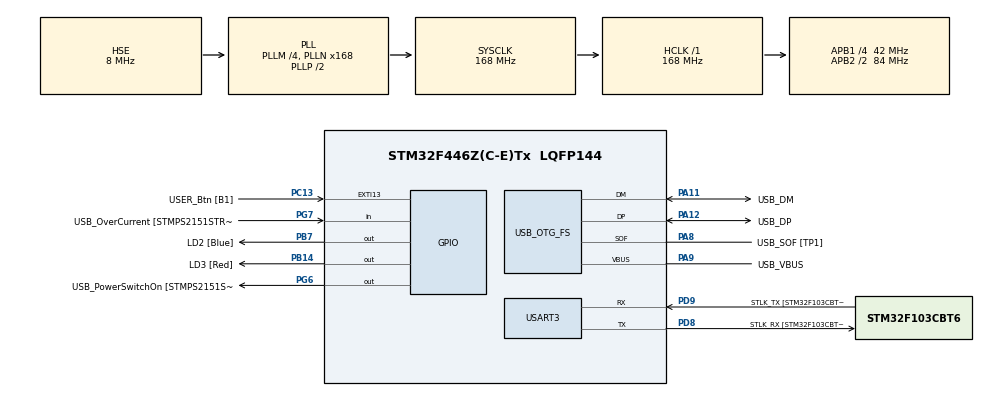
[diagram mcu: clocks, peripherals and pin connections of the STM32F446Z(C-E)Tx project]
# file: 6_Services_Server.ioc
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FREERTOS.Tasks01=defaultTask,0,128,StartDefaultTask,Default,NULL
Mcu.Family=STM32F4
Mcu.Name=STM32F446Z(C-E)Tx
Mcu.Package=LQFP144
NVIC.PriorityGroup=NVIC_PRIORITYGROUP_4
NVIC.TIM1_UP_TIM10_IRQn=true\:0\:0\:false\:false\:true\:false\:false\:true
NVIC.TimeBase=TIM1_UP_TIM10_IRQn
NVIC.TimeBaseIP=TIM1
PA10.GPIO_Label=USB_ID
PA10.Signal=USB_OTG_FS_ID
PA11.GPIO_Label=USB_DM
PA11.Mode=Device_Only
PA11.Signal=USB_OTG_FS_DM
PA12.GPIO_Label=USB_DP
PA12.Mode=Device_Only
PA12.Signal=USB_OTG_FS_DP
PA13.GPIO_Label=TMS
PA13.Mode=Serial_Wire
PA13.Signal=SYS_JTMS-SWDIO
PA14.GPIO_Label=TCK
PA14.Mode=Serial_Wire
PA14.Signal=SYS_JTCK-SWCLK
PA8.GPIO_Label=USB_SOF [TP1]
PA8.Mode=Activate_SOF_FS
PA8.Signal=USB_OTG_FS_SOF
PA9.GPIO_Label=USB_VBUS
PA9.Mode=Activate_VBUS
PA9.Signal=USB_OTG_FS_VBUS
PB14.GPIO_Label=LD3 [Red]
PB14.Signal=GPIO_Output
PB7.GPIO_Label=LD2 [Blue]
PB7.Signal=GPIO_Output
PC13.GPIO_Label=USER_Btn [B1]
PC13.Signal=GPXTI13
PC14-OSC32_IN.Mode=LSE-External-Oscillator
PC14-OSC32_IN.Signal=RCC_OSC32_IN
PC15-OSC32_OUT.Mode=LSE-External-Oscillator
PC15-OSC32_OUT.Signal=RCC_OSC32_OUT
PD8.GPIO_Label=STLK_RX [STM32F103CBT6_PA3]
PD8.Mode=Asynchronous
PD8.Signal=USART3_TX
PD9.GPIO_Label=STLK_TX [STM32F103CBT6_PA2]
PD9.Mode=Asynchronous
PD9.Signal=USART3_RX
PG6.GPIO_Label=USB_PowerSwitchOn [STMPS2151STR_EN]
PG6.Signal=GPIO_Output
PG7.GPIO_Label=USB_OverCurrent [STMPS2151STR_FAULT]
PG7.Signal=GPIO_Input
PH0-OSC_IN.GPIO_Label=MCO [STM32F103CBT6_PA8]
PH0-OSC_IN.Mode=HSE-External-Clock-Source
PH0-OSC_IN.Signal=RCC_OSC_IN
PH1-OSC_OUT.Mode=HSE-External-Clock-Source
PH1-OSC_OUT.Signal=RCC_OSC_OUT
ProjectManager.HeapSize=0x200
ProjectManager.StackSize=0x400
ProjectManager.TargetToolchain=STM32CubeIDE
RCC.48MHZClocksFreq_Value=24000000
RCC.AHBFreq_Value=168000000
RCC.APB1CLKDivider=RCC_HCLK_DIV4
RCC.APB1Freq_Value=42000000
RCC.APB1TimFreq_Value=84000000
RCC.APB2CLKDivider=RCC_HCLK_DIV2
RCC.APB2Freq_Value=84000000
RCC.APB2TimFreq_Value=168000000
RCC.CortexFreq_Value=168000000
RCC.HCLKFreq_Value=168000000
RCC.HSE_VALUE=8000000
RCC.HSI_VALUE=16000000
RCC.PLLM=4
RCC.PLLMUL=RCC_PLL_MUL9
RCC.PLLN=168
RCC.PLLQ=7
RCC.PRESCALERUSB=RCC_USBCLKSOURCE_PLL_DIV1_5
RCC.SYSCLKFreq_VALUE=168000000
RCC.SYSCLKSource=RCC_SYSCLKSOURCE_PLLCLK
RCC.SYSCLKSourceVirtual=RCC_SYSCLKSOURCE_PLLCLK
RCC.USBFreq_Value=48000000
RCC.VCOOutputFreq_Value=336000000
USART3.VirtualMode=VM_ASYNC
USB_OTG_FS.VirtualMode=Device_Only
VP_FREERTOS_VS_CMSIS_V1.Mode=CMSIS_V1
VP_SYS_VS_tim1.Mode=TIM1
board=NUCLEO-F446ZE

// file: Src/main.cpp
/* USER CODE BEGIN Header */
/**
  ******************************************************************************
  * @file           : main.c
  * @brief          : Main program body
  ******************************************************************************
  * @attention
  *
  * <h2><center>&copy; Copyright (c) 2019 STMicroelectronics.
  * All rights reserved.</center></h2>
  *
  * This software component is licensed by ST under BSD 3-Clause license,
  * the "License"; You may not use this file except in compliance with the
  * License. You may obtain a copy of the License at:
  *                        opensource.org/licenses/BSD-3-Clause
  *
  ******************************************************************************
  */
/* USER CODE END Header */

#include "main.h"
#include "cmsis_os.h"

/* USER CODE BEGIN Includes */
#include <uavcan_stm32/uavcan_stm32.hpp>
#include <uavcan/uavcan.hpp>

#include <uavcan/protocol/file/BeginFirmwareUpdate.hpp>

/* USER CODE END Includes */

/* USER CODE BEGIN PD */
#define CAN_THRAD_STACK_SIZE 512

#define DEBUG_BUFFER_SIZE    (256)
#define DEBUG_TIMEOUT        (1000)
/* USER CODE END PD */

UART_HandleTypeDef huart3;

PCD_HandleTypeDef hpcd_USB_OTG_FS;

osThreadId defaultTaskHandle;
/* USER CODE BEGIN PV */
uint32_t defaultTaskBuffer[ CAN_THRAD_STACK_SIZE ];
osStaticThreadDef_t defaultTaskControlBlock;

osSemaphoreId DEBUG_TX_completeID;
osSemaphoreDef(DEBUG_TX_complete);
uint8_t DEBUG_TX_Buffer[DEBUG_BUFFER_SIZE] = {0};  //!< Debug buffer.

/* USER CODE END PV */

void SystemClock_Config(void);
static void MX_GPIO_Init(void);
static void MX_USART3_UART_Init(void);
static void MX_USB_OTG_FS_PCD_Init(void);

/* USER CODE BEGIN PFP */
extern "C" {
	void StartDefaultTask(void const * argument);
}

bool DEBUG_Init(void);
void DEBUG_Printf(const char *fmt, ...);
/* USER CODE END PFP */

/* USER CODE BEGIN 0 */
constexpr unsigned NodePoolSize = 8192;
uavcan_stm32::CanInitHelper<> can;

uavcan::Node<NodePoolSize>& getNode() {
    static uavcan::Node<NodePoolSize> node(can.driver, uavcan_stm32::SystemClock::instance());
    return node;
}
/* USER CODE END 0 */

int main(void)
{

  /* MCU Configuration--------------------------------------------------------*/

  /* Reset of all peripherals, Initializes the Flash interface and the Systick. */
  HAL_Init();

  /* Configure the system clock */
  SystemClock_Config();

  /* Initialize all configured peripherals */
  MX_GPIO_Init();
  MX_USART3_UART_Init();
  MX_USB_OTG_FS_PCD_Init();
  /* USER CODE BEGIN 2 */
  GPIO_InitTypeDef GPIO_InitStruct = {0};

  __HAL_RCC_CAN1_CLK_ENABLE();

  __HAL_RCC_GPIOD_CLK_ENABLE();
  /**CAN1 GPIO Configuration
  PD0     ------> CAN1_RX
  PD1     ------> CAN1_TX
  */
  GPIO_InitStruct.Pin = GPIO_PIN_0|GPIO_PIN_1;
  GPIO_InitStruct.Mode = GPIO_MODE_AF_PP;
  GPIO_InitStruct.Pull = GPIO_NOPULL;
  GPIO_InitStruct.Speed = GPIO_SPEED_FREQ_VERY_HIGH;
  GPIO_InitStruct.Alternate = GPIO_AF9_CAN1;
  HAL_GPIO_Init(GPIOD, &GPIO_InitStruct);

  DEBUG_Init();
  /* USER CODE END 2 */

  /* Create the thread(s) */
  /* definition and creation of defaultTask */
  osThreadStaticDef(defaultTask, StartDefaultTask, osPriorityNormal, 0, CAN_THRAD_STACK_SIZE, defaultTaskBuffer, &defaultTaskControlBlock);
  defaultTaskHandle = osThreadCreate(osThread(defaultTask), NULL);

  /* Start scheduler */
  osKernelStart();

  /* We should never get here as control is now taken by the scheduler */

  /* Infinite loop */
  while (1)
  {

  }
}

void SystemClock_Config(void)
{
  RCC_OscInitTypeDef RCC_OscInitStruct = {0};
  RCC_ClkInitTypeDef RCC_ClkInitStruct = {0};
  RCC_PeriphCLKInitTypeDef PeriphClkInitStruct = {0};

  /** Configure the main internal regulator output voltage
  */
  __HAL_RCC_PWR_CLK_ENABLE();
  __HAL_PWR_VOLTAGESCALING_CONFIG(PWR_REGULATOR_VOLTAGE_SCALE1);
  /** Initializes the CPU, AHB and APB busses clocks
  */
  RCC_OscInitStruct.OscillatorType = RCC_OSCILLATORTYPE_HSE;
  RCC_OscInitStruct.HSEState = RCC_HSE_BYPASS;
  RCC_OscInitStruct.PLL.PLLState = RCC_PLL_ON;
  RCC_OscInitStruct.PLL.PLLSource = RCC_PLLSOURCE_HSE;
  RCC_OscInitStruct.PLL.PLLM = 4;
  RCC_OscInitStruct.PLL.PLLN = 168;
  RCC_OscInitStruct.PLL.PLLP = RCC_PLLP_DIV2;
  RCC_OscInitStruct.PLL.PLLQ = 7;
  RCC_OscInitStruct.PLL.PLLR = 2;
  if (HAL_RCC_OscConfig(&RCC_OscInitStruct) != HAL_OK)
  {
    Error_Handler();
  }
  /** Initializes the CPU, AHB and APB busses clocks
  */
  RCC_ClkInitStruct.ClockType = RCC_CLOCKTYPE_HCLK|RCC_CLOCKTYPE_SYSCLK
                              |RCC_CLOCKTYPE_PCLK1|RCC_CLOCKTYPE_PCLK2;
  RCC_ClkInitStruct.SYSCLKSource = RCC_SYSCLKSOURCE_PLLCLK;
  RCC_ClkInitStruct.AHBCLKDivider = RCC_SYSCLK_DIV1;
  RCC_ClkInitStruct.APB1CLKDivider = RCC_HCLK_DIV4;
  RCC_ClkInitStruct.APB2CLKDivider = RCC_HCLK_DIV2;

  if (HAL_RCC_ClockConfig(&RCC_ClkInitStruct, FLASH_LATENCY_5) != HAL_OK)
  {
    Error_Handler();
  }
  PeriphClkInitStruct.PeriphClockSelection = RCC_PERIPHCLK_CLK48;
  PeriphClkInitStruct.Clk48ClockSelection = RCC_CLK48CLKSOURCE_PLLQ;
  if (HAL_RCCEx_PeriphCLKConfig(&PeriphClkInitStruct) != HAL_OK)
  {
    Error_Handler();
  }
}

static void MX_USART3_UART_Init(void)
{

  huart3.Instance = USART3;
  huart3.Init.BaudRate = 115200;
  huart3.Init.WordLength = UART_WORDLENGTH_8B;
  huart3.Init.StopBits = UART_STOPBITS_1;
  huart3.Init.Parity = UART_PARITY_NONE;
  huart3.Init.Mode = UART_MODE_TX_RX;
  huart3.Init.HwFlowCtl = UART_HWCONTROL_NONE;
  huart3.Init.OverSampling = UART_OVERSAMPLING_16;
  if (HAL_UART_Init(&huart3) != HAL_OK)
  {
    Error_Handler();
  }

}

static void MX_USB_OTG_FS_PCD_Init(void)
{

  hpcd_USB_OTG_FS.Instance = USB_OTG_FS;
  hpcd_USB_OTG_FS.Init.dev_endpoints = 6;
  hpcd_USB_OTG_FS.Init.speed = PCD_SPEED_FULL;
  hpcd_USB_OTG_FS.Init.dma_enable = DISABLE;
  hpcd_USB_OTG_FS.Init.phy_itface = PCD_PHY_EMBEDDED;
  hpcd_USB_OTG_FS.Init.Sof_enable = ENABLE;
  hpcd_USB_OTG_FS.Init.low_power_enable = DISABLE;
  hpcd_USB_OTG_FS.Init.lpm_enable = DISABLE;
  hpcd_USB_OTG_FS.Init.vbus_sensing_enable = ENABLE;
  hpcd_USB_OTG_FS.Init.use_dedicated_ep1 = DISABLE;
  if (HAL_PCD_Init(&hpcd_USB_OTG_FS) != HAL_OK)
  {
    Error_Handler();
  }

}

static void MX_GPIO_Init(void)
{
  GPIO_InitTypeDef GPIO_InitStruct = {0};

  /* GPIO Ports Clock Enable */
  __HAL_RCC_GPIOC_CLK_ENABLE();
  __HAL_RCC_GPIOH_CLK_ENABLE();
  __HAL_RCC_GPIOB_CLK_ENABLE();
  __HAL_RCC_GPIOD_CLK_ENABLE();
  __HAL_RCC_GPIOG_CLK_ENABLE();
  __HAL_RCC_GPIOA_CLK_ENABLE();

  /*Configure GPIO pin Output Level */
  HAL_GPIO_WritePin(GPIOB, LD3_Pin|LD2_Pin, GPIO_PIN_RESET);

  /*Configure GPIO pin Output Level */
  HAL_GPIO_WritePin(USB_PowerSwitchOn_GPIO_Port, USB_PowerSwitchOn_Pin, GPIO_PIN_RESET);

  /*Configure GPIO pin : USER_Btn_Pin */
  GPIO_InitStruct.Pin = USER_Btn_Pin;
  GPIO_InitStruct.Mode = GPIO_MODE_IT_RISING;
  GPIO_InitStruct.Pull = GPIO_NOPULL;
  HAL_GPIO_Init(USER_Btn_GPIO_Port, &GPIO_InitStruct);

  /*Configure GPIO pins : LD3_Pin LD2_Pin */
  GPIO_InitStruct.Pin = LD3_Pin|LD2_Pin;
  GPIO_InitStruct.Mode = GPIO_MODE_OUTPUT_PP;
  GPIO_InitStruct.Pull = GPIO_NOPULL;
  GPIO_InitStruct.Speed = GPIO_SPEED_FREQ_LOW;
  HAL_GPIO_Init(GPIOB, &GPIO_InitStruct);

  /*Configure GPIO pin : USB_PowerSwitchOn_Pin */
  GPIO_InitStruct.Pin = USB_PowerSwitchOn_Pin;
  GPIO_InitStruct.Mode = GPIO_MODE_OUTPUT_PP;
  GPIO_InitStruct.Pull = GPIO_NOPULL;
  GPIO_InitStruct.Speed = GPIO_SPEED_FREQ_LOW;
  HAL_GPIO_Init(USB_PowerSwitchOn_GPIO_Port, &GPIO_InitStruct);

  /*Configure GPIO pin : USB_OverCurrent_Pin */
  GPIO_InitStruct.Pin = USB_OverCurrent_Pin;
  GPIO_InitStruct.Mode = GPIO_MODE_INPUT;
  GPIO_InitStruct.Pull = GPIO_NOPULL;
  HAL_GPIO_Init(USB_OverCurrent_GPIO_Port, &GPIO_InitStruct);

}

/* USER CODE BEGIN 4 */
bool DEBUG_Init(void)
{
    if ((DEBUG_TX_completeID = osSemaphoreCreate(osSemaphore(DEBUG_TX_complete), 1)) == NULL)
    {
        return false;
    }
    return true;
}

void DEBUG_Printf(const char *fmt, ...)
{
    uint16_t i = 0;
    va_list args;
    if (osSemaphoreWait(DEBUG_TX_completeID, 1000) == osOK)
    {
        va_start(args, fmt);
        i = vsnprintf((char*) DEBUG_TX_Buffer, DEBUG_BUFFER_SIZE - 1, fmt, args);
        DEBUG_TX_Buffer[i] = 0x00;

        uint16_t retry = 4096;

        while ((retry--)&&(HAL_UART_Transmit(&huart3, &DEBUG_TX_Buffer[0], strlen((char*)&DEBUG_TX_Buffer[0]), 0xFFF) != HAL_OK));

        va_end(args);
        osSemaphoreRelease(DEBUG_TX_completeID);
    }
    return;
}
/* USER CODE END 4 */

void StartDefaultTask(void const * argument)
{

  /* USER CODE BEGIN 5 */

	uint32_t value = 1000000;

	can.init(value);

	getNode().setName("org.test.ServicesServer");
	getNode().setNodeID(5);

	if (getNode().start() < 0) {
		DEBUG_Printf("UAVCAN start fail\r\n");
	    while (1);
	}

	using uavcan::protocol::file::BeginFirmwareUpdate;
	uavcan::ServiceServer<BeginFirmwareUpdate> srv(getNode());

    const int srv_start_res = srv.start(
        [&](const uavcan::ReceivedDataStructure<BeginFirmwareUpdate::Request>& req, BeginFirmwareUpdate::Response& rsp)
        {
            //std::cout << req << std::endl;
            rsp.error = rsp.ERROR_UNKNOWN;
            rsp.optional_error_message = "Our sun is dying";
        });

    if (srv_start_res < 0)
    {
        while(1);
    }

	getNode().setModeOperational();

  /* Infinite loop */
  for(;;)
  {
	    const int res = getNode().spin(uavcan::MonotonicDuration::fromMSec(500));
	    if (res < 0) {
	    	DEBUG_Printf("UAVCAN spin fail\r\n");
	    	while(1);
	    }
  }
  /* USER CODE END 5 */
}

void HAL_TIM_PeriodElapsedCallback(TIM_HandleTypeDef *htim)
{
  if (htim->Instance == TIM1) {
    HAL_IncTick();
  }
}

void Error_Handler(void)
{
}

/************************ (C) COPYRIGHT STMicroelectronics *****END OF FILE****/
